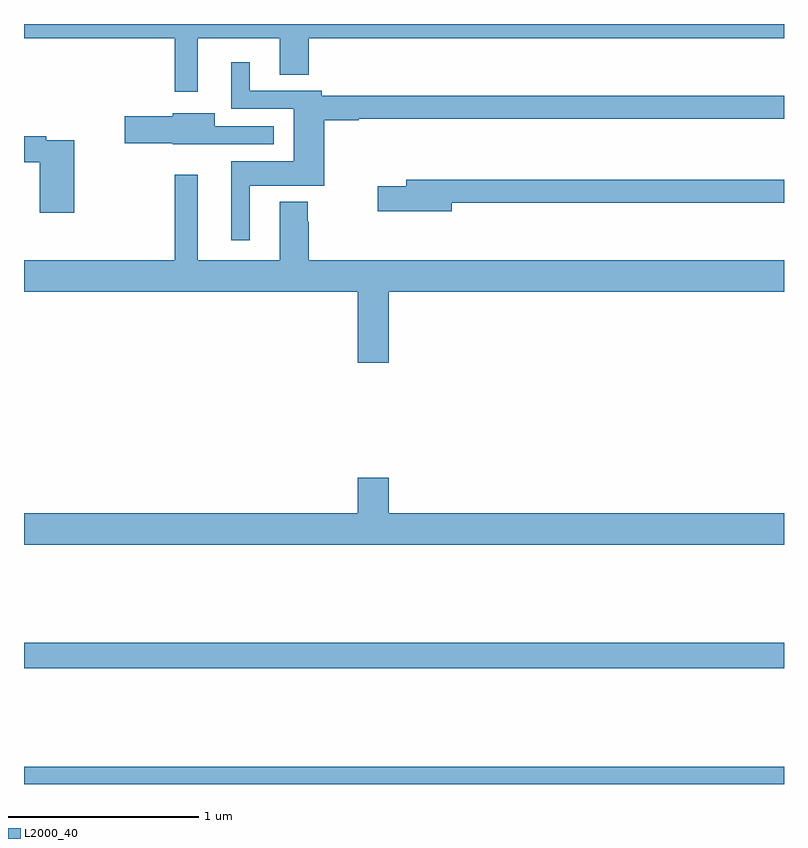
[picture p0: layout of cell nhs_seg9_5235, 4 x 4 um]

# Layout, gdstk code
import gdstk
lib = gdstk.Library(unit=1e-6, precision=1e-09)
def R(c, l, rs):  # rectangles x0, y0, x1, y1
    for r in rs: c.add(gdstk.rectangle(r[:2], r[2:], *l))
def P(c, l, *ps):  # polygons
    for p in ps: c.add(gdstk.Polygon(p, *l))
L2000_40 = (2000, 40)

nhs_seg9_5235 = lib.new_cell('nhs_seg9_5235')
R(nhs_seg9_5235, L2000_40, [(415,1188.5,419,1188.592), (415,1189.108,419,1189.244)])
P(nhs_seg9_5235, L2000_40, [(415.915,1192.424),(416.345,1192.424),(416.345,1192.234),(416.498,1192.234),(416.498,1192.424),(419,1192.424),(419,1192.5),(415,1192.5),(415,1192.424),(415.794,1192.424),(415.794,1192.143),(415.915,1192.143)],
  [(416.188,1191.65),(416.579,1191.65),(416.579,1191.994),(416.762,1191.994),(416.762,1192.002),(419,1192.002),(419,1192.123),(416.566,1192.123),(416.566,1192.149),(416.188,1192.149),(416.188,1192.3),(416.09,1192.3),(416.09,1192.053),(416.42,1192.053),(416.42,1191.778),(416.09,1191.778),(416.09,1191.363),(416.188,1191.363)],
  [(416.001,1191.867),(416.314,1191.867),(416.314,1191.963),(416.005,1191.963),(416.005,1192.03),(415.782,1192.03),(415.782,1192.014),(415.53,1192.014),(415.53,1191.872),(415.782,1191.872),(415.782,1191.866),(416.001,1191.866)],
  [(415.265,1191.888),(415.118,1191.888),(415.118,1191.908),(415,1191.908),(415,1191.772),(415.082,1191.772),(415.082,1191.507),(415.265,1191.507)],
  [(416.92,1191.092),(419,1191.092),(419,1191.256),(416.498,1191.256),(416.498,1191.458),(416.493,1191.458),(416.493,1191.565),(416.345,1191.565),(416.345,1191.256),(415.915,1191.256),(415.915,1191.706),(415.794,1191.706),(415.794,1191.256),(415,1191.256),(415,1191.092),(416.756,1191.092),(416.756,1190.718),(416.92,1190.718)],
  [(417.25,1191.558),(419,1191.558),(419,1191.679),(417.011,1191.679),(417.011,1191.645),(416.862,1191.645),(416.862,1191.515),(417.25,1191.515)],
  [(416.756,1190.113),(416.756,1189.924),(415,1189.924),(415,1189.76),(419,1189.76),(419,1189.924),(416.92,1189.924),(416.92,1190.113)])

lib.write_gds('nhs_seg9_5235.gds')
